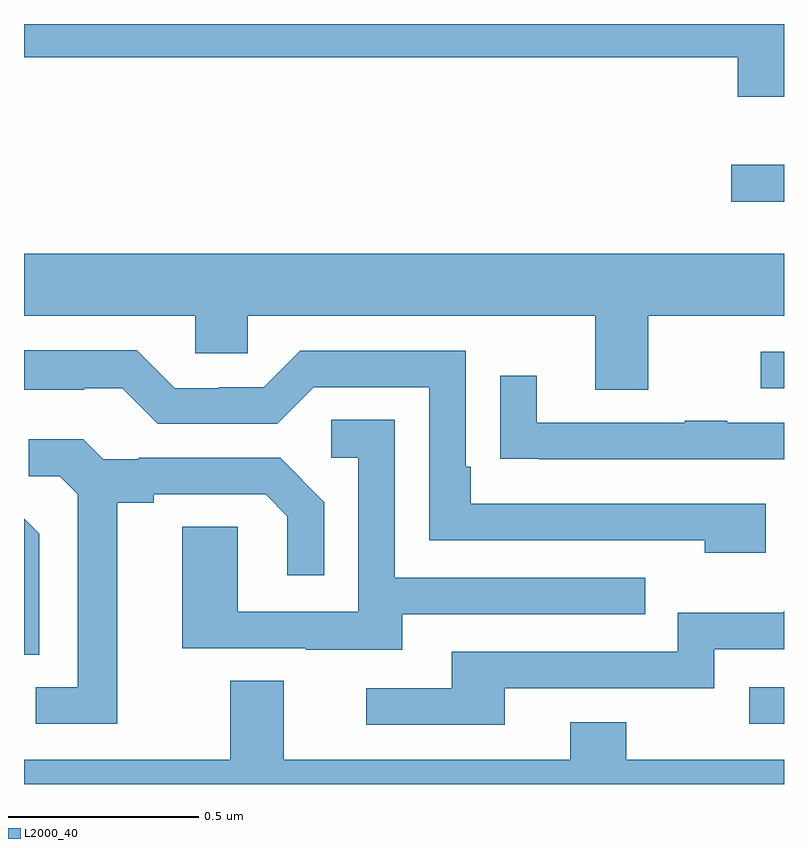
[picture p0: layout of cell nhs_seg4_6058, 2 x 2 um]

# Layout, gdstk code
import gdstk
lib = gdstk.Library(unit=1e-6, precision=1e-09)
def R(c, l, rs):  # rectangles x0, y0, x1, y1
    for r in rs: c.add(gdstk.rectangle(r[:2], r[2:], *l))
def P(c, l, *ps):  # polygons
    for p in ps: c.add(gdstk.Polygon(p, *l))
L2000_40 = (2000, 40)

nhs_seg4_6058 = lib.new_cell('nhs_seg4_6058')
R(nhs_seg4_6058, L2000_40, [(186.909,817.059,187,817.155), (186.939,817.941,187,818.037), (186.861,818.432,187,818.529)])
P(nhs_seg4_6058, L2000_40, [(187,818.9),(185,818.9),(185,818.812),(186.878,818.812),(186.878,818.708),(187,818.708)],
  [(186.643,818.132),(187,818.132),(187,818.296),(185,818.296),(185,818.132),(185.451,818.132),(185.451,818.034),(185.589,818.034),(185.589,818.132),(186.503,818.132),(186.503,817.938),(186.643,817.938)],
  [(186.952,817.638),(186.175,817.638),(186.175,817.735),(186.162,817.735),(186.162,818.04),(185.727,818.04),(185.631,817.944),(185.513,817.944),(185.513,817.941),(185.397,817.941),(185.297,818.041),(185,818.041),(185,817.937),(185.159,817.937),(185.159,817.941),(185.259,817.941),(185.352,817.848),(185.667,817.848),(185.763,817.944),(186.066,817.944),(186.066,817.542),(186.791,817.542),(186.791,817.508),(186.952,817.508)],
  [(187,817.851),(186.851,817.851),(186.851,817.856),(186.739,817.856),(186.739,817.851),(186.349,817.851),(186.349,817.975),(186.253,817.975),(186.253,817.756),(186.355,817.756),(186.355,817.755),(187,817.755)],
  [(185.995,817.347),(186.635,817.347),(186.635,817.443),(185.976,817.443),(185.976,817.859),(185.808,817.859),(185.808,817.758),(185.88,817.758),(185.88,817.353),(185.562,817.353),(185.562,817.577),(185.417,817.577),(185.417,817.257),(185.741,817.257),(185.741,817.253),(185.995,817.253)],
  [(185.245,817.64),(185.341,817.64),(185.341,817.662),(185.636,817.662),(185.693,817.605),(185.693,817.449),(185.79,817.449),(185.79,817.642),(185.674,817.758),(185.302,817.758),(185.302,817.755),(185.208,817.755),(185.156,817.807),(185.013,817.807),(185.013,817.71),(185.094,817.71),(185.141,817.663),(185.141,817.155),(185.031,817.155),(185.031,817.059),(185.245,817.059)],
  [(185.04,817.558),(185,817.598),(185,817.24),(185.04,817.24)],
  [(186.265,817.152),(186.816,817.152),(186.816,817.254),(187,817.254),(187,817.354),(186.997,817.351),(186.72,817.351),(186.72,817.248),(186.125,817.248),(186.125,817.152),(185.901,817.152),(185.901,817.056),(186.265,817.056)],
  [(187,816.964),(186.585,816.964),(186.585,817.063),(186.437,817.063),(186.437,816.964),(185.683,816.964),(185.683,817.172),(185.543,817.172),(185.543,816.964),(185,816.964),(185,816.9),(187,816.9)])

lib.write_gds('nhs_seg4_6058.gds')
